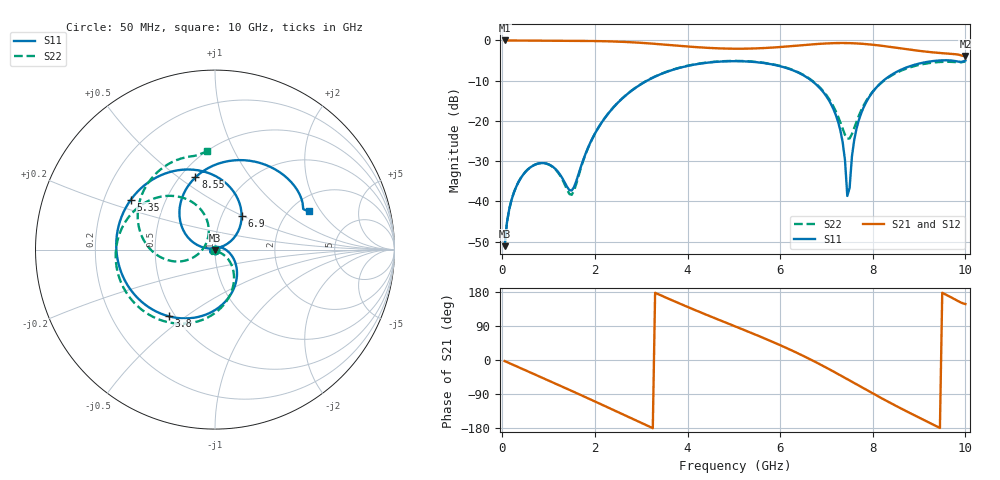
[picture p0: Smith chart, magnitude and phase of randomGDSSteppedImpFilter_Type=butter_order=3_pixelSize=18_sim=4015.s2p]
! freq	dB(S11)	phase(S11)	dB(S12)	phase(S12)
!  dB(S21)	phase(S21)	dB(S22)	phase(S22)
!S-par simulation data
#  GHz  S  DB  R 50
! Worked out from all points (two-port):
!   200 points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, 50 MHz to 10 GHz, reference 50 ohm
!   highest |S21| = 0.00 dB at 50 MHz (marker M1); lowest = -3.9 dB at 10 GHz (marker M2)
!   |S21| within 3 dB of the highest: start of sweep to 9.333 GHz
!   lowest |S11| = -51.1 dB at 50 MHz (marker M3), VSWR 1.01, Z = 50 - j0.278 ohm
!   |S11| at or under -10 dB: start of sweep to 3.126 GHz; 6.679 GHz to 8.23 GHz (1.551 GHz wide, 20.8 % of centre)
!   |S22| runs from -51.0 to -5.1 dB; largest |S21 - S12| = 0
!   S11 on the Smith chart (normalised r, x): 50 MHz: 1.00, -0.01; 3.8 GHz: 0.46, -0.43; 5.35 GHz: 0.31, +0.25; 6.9 GHz: 1.24, +0.50; 8.55 GHz: 0.59, +0.58; 10 GHz: 2.49, +1.56
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0.05  -51.13 -90.4  -0.00 -2.8  -0.00 -2.8  -51.02 -89.0
0.2  -39.61 -101.0  -0.02 -10.9  -0.02 -10.9  -39.58 -97.2
0.5  -32.67 -122.3  -0.04 -27.2  -0.04 -27.2  -32.64 -112.4
1  -30.78 -160.0  -0.07 -54.3  -0.07 -54.3  -30.83 -131.5
1.5  -37.28 96.6  -0.09 -81.6  -0.09 -81.6  -38.36 -81.1
1.75  -29.62 22.4  -0.11 -95.4  -0.11 -95.4  -29.81 -31.8
2.65  -13.81 -53.9  -0.37 -146.1  -0.37 -146.1  -13.77 -59.1
3.4  -8.48 -101.1  -0.94 171.9  -0.94 171.9  -8.43 -95.7
3.8  -6.90 -124.7  -1.32 150.5  -1.32 150.5  -6.85 -114.8
5.05  -5.15 166.0  -2.06 87.7  -2.06 87.7  -5.08 -169.7
5.35  -5.27 149.3  -2.02 72.8  -2.02 72.8  -5.21 177.6
6.7  -10.18 65.8  -0.97 -1.3  -0.97 -1.3  -10.06 118.2
6.9  -12.40 51.8  -0.81 -13.9  -0.81 -13.9  -12.19 110.3
7.3  -22.35 25.3  -0.64 -40.4  -0.64 -40.4  -20.37 111.5
7.4  -29.77 24.7  -0.65 -47.2  -0.65 -47.2  -23.46 129.3
7.45  -38.64 45.8  -0.65 -50.6  -0.65 -50.6  -24.44 145.2
7.6  -24.68 170.2  -0.71 -60.9  -0.71 -60.9  -21.72 -170.9
7.75  -18.09 162.2  -0.81 -71.2  -0.81 -71.2  -17.36 -159.7
8.35  -8.95 119.2  -1.56 -111.3  -1.56 -111.3  -9.11 -178.7
8.55  -7.60 105.2  -1.88 -124.1  -1.88 -124.1  -7.83 171.4
9.25  -5.20 59.4  -2.91 -167.2  -2.91 -167.2  -5.57 134.9
10  -4.97 22.3  -3.87 147.7  -3.87 147.7  -5.21 94.9
